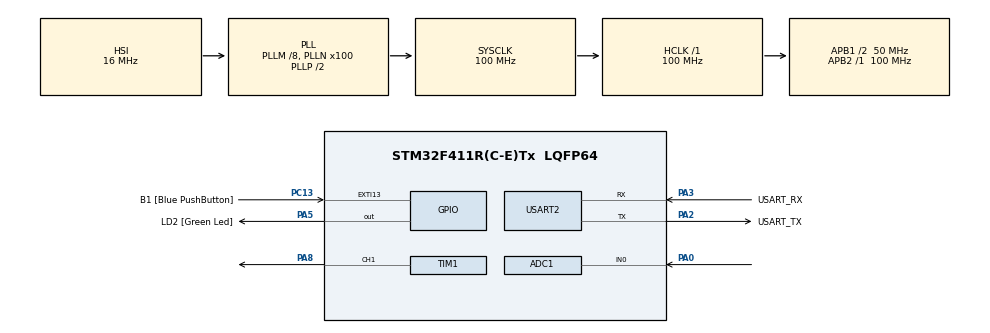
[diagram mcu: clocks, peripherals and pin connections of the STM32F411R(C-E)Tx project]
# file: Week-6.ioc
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Mcu.Family=STM32F4
RCC.CortexFreq_Value=100000000
PA14.GPIO_Label=TCK
TIM1.Pulse-PWM\ Generation1\ CH1=5000
RCC.SYSCLKSource=RCC_SYSCLKSOURCE_PLLCLK
ProjectManager.StackSize=0x400
NVIC.ADC_IRQn=true\:0\:0\:false\:false\:true\:true\:true
PH0\ -\ OSC_IN.Signal=RCC_OSC_IN
RCC.HCLKFreq_Value=100000000
RCC.APB2TimFreq_Value=100000000
TIM3.Period=1000
RCC.AHBFreq_Value=100000000
ADC1.Channel-0\#ChannelRegularConversion=ADC_CHANNEL_0
NVIC.TIM1_TRG_COM_TIM11_IRQn=true\:0\:0\:false\:false\:true\:true\:true
RCC.HSE_VALUE=8000000
PC13-ANTI_TAMP.Signal=GPXTI13
PC14-OSC32_IN.Mode=LSE-External-Oscillator
TIM1.Channel-PWM\ Generation1\ CH1=TIM_CHANNEL_1
PA14.Mode=Serial_Wire
TIM3.Prescaler=99
PA8.Signal=S_TIM1_CH1
SH.ADCx_IN0.0=ADC1_IN0,IN0
VP_TIM1_VS_ClockSourceINT.Mode=Internal
ADC1.SamplingTime-0\#ChannelRegularConversion=ADC_SAMPLETIME_3CYCLES
RCC.FLatency-AdvancedSettings=FLASH_LATENCY_3
Mcu.Package=LQFP64
USART2.VirtualMode=VM_ASYNC
PA2.GPIO_Label=USART_TX
RCC.APB1TimFreq_Value=100000000
TIM1.Period=10000
VP_TIM3_VS_ClockSourceINT.Mode=Internal
PA3.Signal=USART2_RX
PB3.GPIO_Label=SWO
PC15-OSC32_OUT.Mode=LSE-External-Oscillator
ADC1.Rank-0\#ChannelRegularConversion=1
PC13-ANTI_TAMP.GPIO_Label=B1 [Blue PushButton]
PH1\ -\ OSC_OUT.Mode=HSE-External-Clock-Source
TIM11.Prescaler=99
RCC.APB1CLKDivider=RCC_HCLK_DIV2
PC14-OSC32_IN.Signal=RCC_OSC32_IN
PA0-WKUP.Signal=ADCx_IN0
VP_TIM11_VS_ClockSourceINT.Mode=Enable_Timer
PA13.Signal=SYS_JTMS-SWDIO
PA3.Mode=Asynchronous
PH0\ -\ OSC_IN.Mode=HSE-External-Clock-Source
SH.S_TIM1_CH1.0=TIM1_CH1,PWM Generation1 CH1
ProjectManager.TargetToolchain=STM32CubeIDE
PC15-OSC32_OUT.Signal=RCC_OSC32_OUT
PA5.Signal=GPIO_Output
PH1\ -\ OSC_OUT.Signal=RCC_OSC_OUT
board=NUCLEO-F411RE
RCC.VCOOutputFreq_Value=200000000
RCC.APB2Freq_Value=100000000
PA13.Mode=Serial_Wire
Mcu.Name=STM32F411R(C-E)Tx
PA13.GPIO_Label=TMS
PA2.Signal=USART2_TX
ADC1.ExternalTrigConv=ADC_EXTERNALTRIGCONV_T3_TRGO
RCC.48MHZClocksFreq_Value=50000000
PB3.Signal=SYS_JTDO-SWO
RCC.SYSCLKFreq_VALUE=100000000
ADC1.master=1
PA5.GPIO_Label=LD2 [Green Led]
PC13-ANTI_TAMP.GPIO_ModeDefaultEXTI=GPIO_MODE_IT_FALLING
PA14.Signal=SYS_JTCK-SWCLK
ProjectManager.HeapSize=0x200
RCC.HSI_VALUE=16000000
NVIC.PriorityGroup=NVIC_PRIORITYGROUP_0
ADC1.NbrOfConversionFlag=1
RCC.PLLM=8
RCC.PLLN=100
PA2.Mode=Asynchronous
TIM3.TIM_MasterOutputTrigger=TIM_TRGO_UPDATE
RCC.APB1Freq_Value=50000000
PA3.GPIO_Label=USART_RX

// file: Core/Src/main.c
/* USER CODE BEGIN Header */
/**
 ******************************************************************************
 * @file           : main.c
 * @brief          : Main program body
 ******************************************************************************
 * @attention
 *
 * <h2><center>&copy; Copyright (c) 2021 STMicroelectronics.
 * All rights reserved.</center></h2>
 *
 * This software component is licensed by ST under BSD 3-Clause license,
 * the "License"; You may not use this file except in compliance with the
 * License. You may obtain a copy of the License at:
 *                        opensource.org/licenses/BSD-3-Clause
 *
 ******************************************************************************
 */
/* USER CODE END Header */
#include "main.h"

ADC_HandleTypeDef hadc1;

TIM_HandleTypeDef htim1;
TIM_HandleTypeDef htim3;
TIM_HandleTypeDef htim11;

UART_HandleTypeDef huart2;

/* USER CODE BEGIN PV */

uint8_t ADCUpdateFlag = 0;
uint16_t ADCFeedBack = 0;

uint16_t PWMOut = 3000;
float ADCOutputConverted;
uint64_t _micro = 0;
uint64_t TimeOutputLoop = 0;

/* USER CODE END PV */

void SystemClock_Config(void);
static void MX_GPIO_Init(void);
static void MX_USART2_UART_Init(void);
static void MX_ADC1_Init(void);
static void MX_TIM1_Init(void);
static void MX_TIM11_Init(void);
static void MX_TIM3_Init(void);
/* USER CODE BEGIN PFP */
uint64_t micros();
/* USER CODE END PFP */

int main(void) {

	/* MCU Configuration--------------------------------------------------------*/

	/* Reset of all peripherals, Initializes the Flash interface and the Systick. */
	HAL_Init();

	/* Configure the system clock */
	SystemClock_Config();

	/* Initialize all configured peripherals */
	MX_GPIO_Init();
	MX_USART2_UART_Init();
	MX_ADC1_Init();
	MX_TIM1_Init();
	MX_TIM11_Init();
	MX_TIM3_Init();
	/* USER CODE BEGIN 2 */
	HAL_ADC_Start_IT(&hadc1);
	HAL_TIM_Base_Start(&htim3);

	HAL_TIM_Base_Start(&htim1);
	HAL_TIM_PWM_Start(&htim1, TIM_CHANNEL_1);

	HAL_TIM_Base_Start_IT(&htim11);

	/* USER CODE END 2 */

	/* Infinite loop */
	while (1) {

		/* USER CODE BEGIN 3 */

		//1 Khz Loop
		if (micros() - TimeOutputLoop > 1000) { //us
//			CONTROL_PWM();
			float K_P = 5, K_I = 0.2, K_D = 0;
			static float ErrorValue, SummaryError, PreviousError;
			ADCOutputConverted = (((ADCFeedBack *3.3)/4096)*1000);
			ErrorValue = 1000 - ADCOutputConverted;
			SummaryError += ErrorValue;
			PWMOut = K_P * ErrorValue + K_I * SummaryError + K_D * (ErrorValue - PreviousError);
			PreviousError = ErrorValue;
			TimeOutputLoop = micros();
			__HAL_TIM_SET_COMPARE(&htim1, TIM_CHANNEL_1, PWMOut);

			// #001
		}

		if (ADCUpdateFlag) {
			ADCUpdateFlag = 0;
			//#002
		}

	}
	/* USER CODE END 3 */
}

void SystemClock_Config(void) {
	RCC_OscInitTypeDef RCC_OscInitStruct = { 0 };
	RCC_ClkInitTypeDef RCC_ClkInitStruct = { 0 };

	/** Configure the main internal regulator output voltage
	 */
	__HAL_RCC_PWR_CLK_ENABLE();
	__HAL_PWR_VOLTAGESCALING_CONFIG(PWR_REGULATOR_VOLTAGE_SCALE1);
	/** Initializes the RCC Oscillators according to the specified parameters
	 * in the RCC_OscInitTypeDef structure.
	 */
	RCC_OscInitStruct.OscillatorType = RCC_OSCILLATORTYPE_HSI;
	RCC_OscInitStruct.HSIState = RCC_HSI_ON;
	RCC_OscInitStruct.HSICalibrationValue = RCC_HSICALIBRATION_DEFAULT;
	RCC_OscInitStruct.PLL.PLLState = RCC_PLL_ON;
	RCC_OscInitStruct.PLL.PLLSource = RCC_PLLSOURCE_HSI;
	RCC_OscInitStruct.PLL.PLLM = 8;
	RCC_OscInitStruct.PLL.PLLN = 100;
	RCC_OscInitStruct.PLL.PLLP = RCC_PLLP_DIV2;
	RCC_OscInitStruct.PLL.PLLQ = 4;
	if (HAL_RCC_OscConfig(&RCC_OscInitStruct) != HAL_OK) {
		Error_Handler();
	}
	/** Initializes the CPU, AHB and APB buses clocks
	 */
	RCC_ClkInitStruct.ClockType = RCC_CLOCKTYPE_HCLK | RCC_CLOCKTYPE_SYSCLK
			| RCC_CLOCKTYPE_PCLK1 | RCC_CLOCKTYPE_PCLK2;
	RCC_ClkInitStruct.SYSCLKSource = RCC_SYSCLKSOURCE_PLLCLK;
	RCC_ClkInitStruct.AHBCLKDivider = RCC_SYSCLK_DIV1;
	RCC_ClkInitStruct.APB1CLKDivider = RCC_HCLK_DIV2;
	RCC_ClkInitStruct.APB2CLKDivider = RCC_HCLK_DIV1;

	if (HAL_RCC_ClockConfig(&RCC_ClkInitStruct, FLASH_LATENCY_3) != HAL_OK) {
		Error_Handler();
	}
}

static void MX_ADC1_Init(void) {

	ADC_ChannelConfTypeDef sConfig = { 0 };

	/** Configure the global features of the ADC (Clock, Resolution, Data Alignment and number of conversion)
	 */
	hadc1.Instance = ADC1;
	hadc1.Init.ClockPrescaler = ADC_CLOCK_SYNC_PCLK_DIV4;
	hadc1.Init.Resolution = ADC_RESOLUTION_12B;
	hadc1.Init.ScanConvMode = DISABLE;
	hadc1.Init.ContinuousConvMode = DISABLE;
	hadc1.Init.DiscontinuousConvMode = DISABLE;
	hadc1.Init.ExternalTrigConvEdge = ADC_EXTERNALTRIGCONVEDGE_RISING;
	hadc1.Init.ExternalTrigConv = ADC_EXTERNALTRIGCONV_T3_TRGO;
	hadc1.Init.DataAlign = ADC_DATAALIGN_RIGHT;
	hadc1.Init.NbrOfConversion = 1;
	hadc1.Init.DMAContinuousRequests = DISABLE;
	hadc1.Init.EOCSelection = ADC_EOC_SINGLE_CONV;
	if (HAL_ADC_Init(&hadc1) != HAL_OK) {
		Error_Handler();
	}
	/** Configure for the selected ADC regular channel its corresponding rank in the sequencer and its sample time.
	 */
	sConfig.Channel = ADC_CHANNEL_0;
	sConfig.Rank = 1;
	sConfig.SamplingTime = ADC_SAMPLETIME_3CYCLES;
	if (HAL_ADC_ConfigChannel(&hadc1, &sConfig) != HAL_OK) {
		Error_Handler();
	}

}

static void MX_TIM1_Init(void) {

	TIM_ClockConfigTypeDef sClockSourceConfig = { 0 };
	TIM_MasterConfigTypeDef sMasterConfig = { 0 };
	TIM_OC_InitTypeDef sConfigOC = { 0 };
	TIM_BreakDeadTimeConfigTypeDef sBreakDeadTimeConfig = { 0 };

	htim1.Instance = TIM1;
	htim1.Init.Prescaler = 1;
	htim1.Init.CounterMode = TIM_COUNTERMODE_UP;
	htim1.Init.Period = 10000;
	htim1.Init.ClockDivision = TIM_CLOCKDIVISION_DIV1;
	htim1.Init.RepetitionCounter = 0;
	htim1.Init.AutoReloadPreload = TIM_AUTORELOAD_PRELOAD_ENABLE;
	if (HAL_TIM_Base_Init(&htim1) != HAL_OK) {
		Error_Handler();
	}
	sClockSourceConfig.ClockSource = TIM_CLOCKSOURCE_INTERNAL;
	if (HAL_TIM_ConfigClockSource(&htim1, &sClockSourceConfig) != HAL_OK) {
		Error_Handler();
	}
	if (HAL_TIM_PWM_Init(&htim1) != HAL_OK) {
		Error_Handler();
	}
	sMasterConfig.MasterOutputTrigger = TIM_TRGO_RESET;
	sMasterConfig.MasterSlaveMode = TIM_MASTERSLAVEMODE_DISABLE;
	if (HAL_TIMEx_MasterConfigSynchronization(&htim1, &sMasterConfig)
			!= HAL_OK) {
		Error_Handler();
	}
	sConfigOC.OCMode = TIM_OCMODE_PWM1;
	sConfigOC.Pulse = 5000;
	sConfigOC.OCPolarity = TIM_OCPOLARITY_HIGH;
	sConfigOC.OCNPolarity = TIM_OCNPOLARITY_HIGH;
	sConfigOC.OCFastMode = TIM_OCFAST_DISABLE;
	sConfigOC.OCIdleState = TIM_OCIDLESTATE_RESET;
	sConfigOC.OCNIdleState = TIM_OCNIDLESTATE_RESET;
	if (HAL_TIM_PWM_ConfigChannel(&htim1, &sConfigOC, TIM_CHANNEL_1)
			!= HAL_OK) {
		Error_Handler();
	}
	__HAL_TIM_DISABLE_OCxPRELOAD(&htim1, TIM_CHANNEL_1);
	sBreakDeadTimeConfig.OffStateRunMode = TIM_OSSR_DISABLE;
	sBreakDeadTimeConfig.OffStateIDLEMode = TIM_OSSI_DISABLE;
	sBreakDeadTimeConfig.LockLevel = TIM_LOCKLEVEL_OFF;
	sBreakDeadTimeConfig.DeadTime = 0;
	sBreakDeadTimeConfig.BreakState = TIM_BREAK_DISABLE;
	sBreakDeadTimeConfig.BreakPolarity = TIM_BREAKPOLARITY_HIGH;
	sBreakDeadTimeConfig.AutomaticOutput = TIM_AUTOMATICOUTPUT_DISABLE;
	if (HAL_TIMEx_ConfigBreakDeadTime(&htim1, &sBreakDeadTimeConfig)
			!= HAL_OK) {
		Error_Handler();
	}
	HAL_TIM_MspPostInit(&htim1);

}

static void MX_TIM3_Init(void) {

	TIM_ClockConfigTypeDef sClockSourceConfig = { 0 };
	TIM_MasterConfigTypeDef sMasterConfig = { 0 };

	htim3.Instance = TIM3;
	htim3.Init.Prescaler = 100;
	htim3.Init.CounterMode = TIM_COUNTERMODE_UP;
	htim3.Init.Period = 2000;
	htim3.Init.ClockDivision = TIM_CLOCKDIVISION_DIV1;
	htim3.Init.AutoReloadPreload = TIM_AUTORELOAD_PRELOAD_DISABLE;
	if (HAL_TIM_Base_Init(&htim3) != HAL_OK) {
		Error_Handler();
	}
	sClockSourceConfig.ClockSource = TIM_CLOCKSOURCE_INTERNAL;
	if (HAL_TIM_ConfigClockSource(&htim3, &sClockSourceConfig) != HAL_OK) {
		Error_Handler();
	}
	sMasterConfig.MasterOutputTrigger = TIM_TRGO_UPDATE;
	sMasterConfig.MasterSlaveMode = TIM_MASTERSLAVEMODE_DISABLE;
	if (HAL_TIMEx_MasterConfigSynchronization(&htim3, &sMasterConfig)
			!= HAL_OK) {
		Error_Handler();
	}

}

static void MX_TIM11_Init(void) {

	htim11.Instance = TIM11;
	htim11.Init.Prescaler = 100;
	htim11.Init.CounterMode = TIM_COUNTERMODE_UP;
	htim11.Init.Period = 65535;
	htim11.Init.ClockDivision = TIM_CLOCKDIVISION_DIV1;
	htim11.Init.AutoReloadPreload = TIM_AUTORELOAD_PRELOAD_DISABLE;
	if (HAL_TIM_Base_Init(&htim11) != HAL_OK) {
		Error_Handler();
	}

}

static void MX_USART2_UART_Init(void) {

	huart2.Instance = USART2;
	huart2.Init.BaudRate = 115200;
	huart2.Init.WordLength = UART_WORDLENGTH_8B;
	huart2.Init.StopBits = UART_STOPBITS_1;
	huart2.Init.Parity = UART_PARITY_NONE;
	huart2.Init.Mode = UART_MODE_TX_RX;
	huart2.Init.HwFlowCtl = UART_HWCONTROL_NONE;
	huart2.Init.OverSampling = UART_OVERSAMPLING_16;
	if (HAL_UART_Init(&huart2) != HAL_OK) {
		Error_Handler();
	}

}

static void MX_GPIO_Init(void) {
	GPIO_InitTypeDef GPIO_InitStruct = { 0 };

	/* GPIO Ports Clock Enable */
	__HAL_RCC_GPIOC_CLK_ENABLE();
	__HAL_RCC_GPIOH_CLK_ENABLE();
	__HAL_RCC_GPIOA_CLK_ENABLE();
	__HAL_RCC_GPIOB_CLK_ENABLE();

	/*Configure GPIO pin Output Level */
	HAL_GPIO_WritePin(LD2_GPIO_Port, LD2_Pin, GPIO_PIN_RESET);

	/*Configure GPIO pin : B1_Pin */
	GPIO_InitStruct.Pin = B1_Pin;
	GPIO_InitStruct.Mode = GPIO_MODE_IT_FALLING;
	GPIO_InitStruct.Pull = GPIO_NOPULL;
	HAL_GPIO_Init(B1_GPIO_Port, &GPIO_InitStruct);

	/*Configure GPIO pin : LD2_Pin */
	GPIO_InitStruct.Pin = LD2_Pin;
	GPIO_InitStruct.Mode = GPIO_MODE_OUTPUT_PP;
	GPIO_InitStruct.Pull = GPIO_NOPULL;
	GPIO_InitStruct.Speed = GPIO_SPEED_FREQ_LOW;
	HAL_GPIO_Init(LD2_GPIO_Port, &GPIO_InitStruct);

}

/* USER CODE BEGIN 4 */
//	float K_P = 5, K_I = 0.2, K_D = 0;
//void CONTROL_PWM(){
//
//	static float ErrorValue, SummaryError, PreviousError;
//	ADCOutputConverted = (((ADCFeedBack *3.3)/4096)*1000);
//	ErrorValue = 1000 - ADCOutputConverted;
//	SummaryError += ErrorValue;
//	PWMOut = K_P * ErrorValue + K_I * SummaryError + K_D * (ErrorValue - PreviousError);
//	PreviousError = ErrorValue;
//
//}
void HAL_ADC_ConvCpltCallback(ADC_HandleTypeDef *hadc) {
	ADCFeedBack = HAL_ADC_GetValue(&hadc1);
	ADCUpdateFlag = 1;
}
void HAL_TIM_PeriodElapsedCallback(TIM_HandleTypeDef *htim) {
	if (htim == &htim11) {
		_micro += 65535;
	}
}

__inline__ uint64_t micros() {
	return _micro + htim11.Instance->CNT;
}
/* USER CODE END 4 */

void Error_Handler(void) {
	__disable_irq();
	while (1) {
	}
}

/************************ (C) COPYRIGHT STMicroelectronics *****END OF FILE****/
